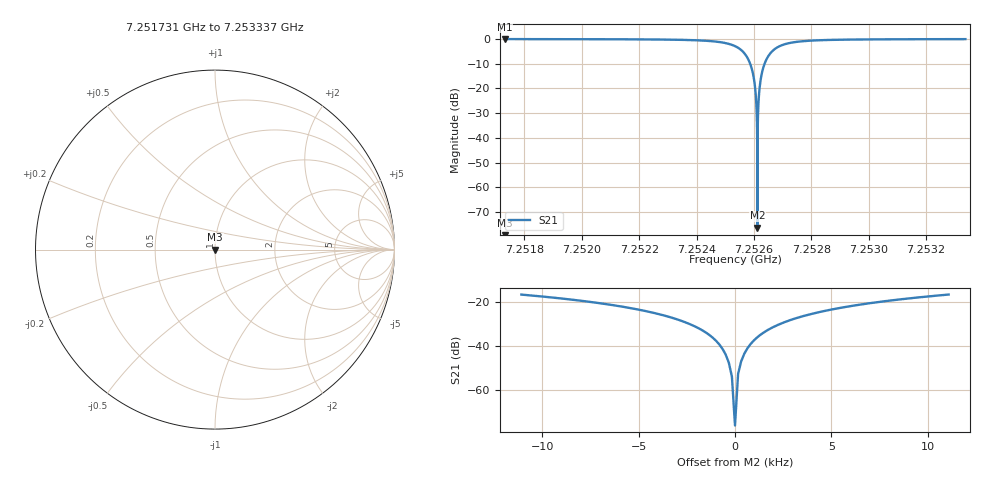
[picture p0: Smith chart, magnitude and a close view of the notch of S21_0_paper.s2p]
! Created with skrf (http://scikit-rf.org).
# Hz S RI R 50.0
!freq ReS11 ImS11 ReS21 ImS21 ReS12 ImS12 ReS22 ImS22
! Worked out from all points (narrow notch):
!   10000 points, 7.251731 GHz to 7.253337 GHz, reference 50 ohm
!   highest |S21| = -0.03 dB at 7.251731 GHz (marker M1); lowest = -76.3 dB at 7.252612 GHz (marker M2)
!   notch at M2: 76.2 dB deep, 1.85 kHz wide at half that depth
!   lowest |S11| = - dB at 7.251731 GHz (marker M3), VSWR 1.00, Z = 50 + j0 ohm
!   |S11| at or under -10 dB: start of sweep to end of sweep
!   S12 and S22 are empty: the file has one direction only
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7.2517308e9  0 0  0.9927 -0.0851  0 0  0 0
7.2519986e9  0 0  0.9851 -0.1213  0 0  0 0
7.2522663e9  0 0  0.9544 -0.2086  0 0  0 0
7.2524428e9  0 0  0.8337 -0.3723  0 0  0 0
7.2524938e9  0 0  0.7101 -0.4537  0 0  0 0
7.2525341e9  0 0  0.5154 -0.4998  0 0  0 0
7.2525656e9  0 0  0.2741 -0.446  0 0  0 0
7.2525868e9  0 0  0.1002 -0.3003  0 0  0 0
7.2525984e9  0 0  0.0316 -0.1749  0 0  0 0
7.2526024e9  0 0  0.016 -0.1254  0 0  0 0
7.2526064e9  0 0  0.00549 -0.0739  0 0  0 0
7.252612e9  0 0  2.32e-08 0.000152  0 0  0 0
7.2526173e9  0 0  0.00492 0.07  0 0  0 0
7.2526228e9  0 0  0.0199 0.1398  0 0  0 0
7.25263e9  0 0  0.0538 0.2255  0 0  0 0
7.2526414e9  0 0  0.1316 0.3381  0 0  0 0
7.252657e9  0 0  0.2619 0.4397  0 0  0 0
7.2526824e9  0 0  0.4647 0.4987  0 0  0 0
7.2527192e9  0 0  0.6681 0.4709  0 0  0 0
7.2528018e9  0 0  0.8632 0.3437  0 0  0 0
7.2530696e9  0 0  0.9735 0.1607  0 0  0 0
7.2533373e9  0 0  0.9893 0.103  0 0  0 0
